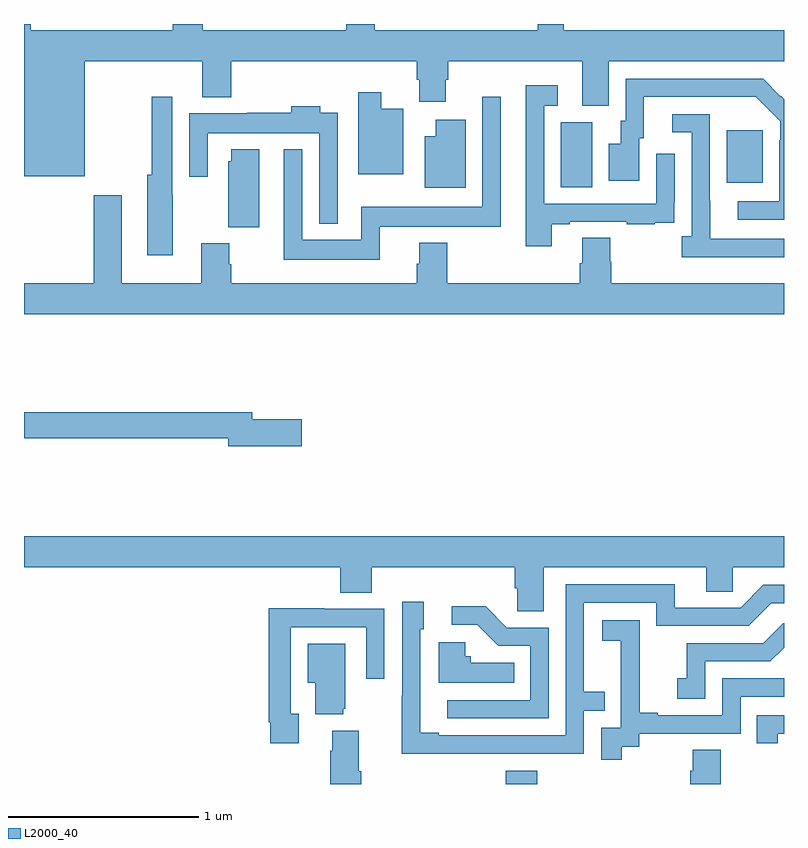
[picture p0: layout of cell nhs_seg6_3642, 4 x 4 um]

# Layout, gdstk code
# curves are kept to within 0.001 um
import gdstk
lib = gdstk.Library(unit=1e-6, precision=1e-09)
def R(c, l, rs):  # rectangles x0, y0, x1, y1
    for r in rs: c.add(gdstk.rectangle(r[:2], r[2:], *l))
def P(c, l, *ps):  # polygons
    for p in ps: c.add(gdstk.Polygon(p, *l))
L2000_40 = (2000, 40)

nhs_seg6_3642 = lib.new_cell('nhs_seg6_3642')
R(nhs_seg6_3642, L2000_40, [(325.535,975.5,325.7,975.571), (325.826,978.64,325.99,978.984), (326.699,978.665,326.887,978.94)])
P(nhs_seg6_3642, L2000_40, [(323.32,979.304),(323.939,979.304),(323.939,979.115),(324.092,979.115),(324.092,979.304),(325.067,979.304),(325.067,979.206),(325.079,979.206),(325.079,979.092),(325.219,979.092),(325.219,979.206),(325.232,979.206),(325.232,979.304),(325.937,979.304),(325.937,979.069),(326.077,979.069),(326.077,979.304),(327,979.304),(327,979.468),(325.842,979.468),(325.842,979.5),(325.703,979.5),(325.703,979.468),(324.847,979.468),(324.847,979.5),(324.695,979.5),(324.695,979.468),(323.942,979.468),(323.942,979.5),(323.782,979.5),(323.782,979.468),(323.035,979.468),(323.035,979.5),(323,979.5),(323,978.698),(323.32,978.698)],
  [(327,979.104),(326.982,979.122),(326.981,979.121),(326.89,979.212),(326.166,979.212),(326.166,978.99),(326.141,978.99),(326.141,978.871),(326.078,978.871),(326.078,978.675),(326.239,978.675),(326.239,978.9),(326.263,978.9),(326.263,979.116),(326.851,979.116),(326.979,978.987),(326.979,978.887),(326.976,978.887),(326.976,978.567),(326.757,978.567),(326.757,978.471),(327,978.471)],
  [(325.777,978.447),(325.873,978.447),(325.873,978.459),(326.173,978.459),(326.173,978.447),(326.321,978.447),(326.321,978.453),(326.423,978.453),(326.423,978.562),(326.424,978.562),(326.424,978.817),(326.328,978.817),(326.328,978.555),(325.737,978.555),(325.737,979.071),(325.81,979.071),(325.81,979.177),(325.64,979.177),(325.64,978.33),(325.777,978.33)],
  [(324.997,979.054),(324.88,979.054),(324.88,979.141),(324.758,979.141),(324.758,978.71),(324.997,978.71)],
  [(323.782,978.602),(323.781,978.602),(323.781,979.117),(323.673,979.117),(323.673,978.706),(323.648,978.706),(323.648,978.282),(323.782,978.282)],
  [(324.872,978.434),(325.51,978.434),(325.51,979.117),(325.413,979.117),(325.413,978.538),(324.774,978.538),(324.774,978.364),(324.465,978.364),(324.465,978.841),(324.368,978.841),(324.368,978.26),(324.872,978.26)],
  [(324.651,979.033),(324.559,979.033),(324.559,979.066),(324.407,979.066),(324.407,979.033),(324.175,979.033),(324.175,979.03),(323.871,979.03),(323.871,978.696),(323.967,978.696),(323.967,978.926),(324.555,978.926),(324.555,978.449),(324.651,978.449)],
  [(327,978.369),(326.611,978.369),(326.611,978.569),(326.61,978.569),(326.61,979.026),(326.412,979.026),(326.412,978.93),(326.514,978.93),(326.514,978.382),(326.463,978.382),(326.463,978.272),(327,978.272)],
  [(325.324,978.997),(325.166,978.997),(325.166,978.91),(325.109,978.91),(325.109,978.638),(325.324,978.638)],
  [(324.238,978.841),(324.092,978.841),(324.092,978.777),(324.074,978.777),(324.074,978.43),(324.238,978.43)],
  [(327,978.136),(326.09,978.136),(326.09,978.249),(326.085,978.249),(326.085,978.374),(325.937,978.374),(325.937,978.242),(325.925,978.242),(325.925,978.136),(325.227,978.136),(325.227,978.349),(325.079,978.349),(325.079,978.237),(325.067,978.237),(325.067,978.136),(324.092,978.136),(324.092,978.236),(324.079,978.236),(324.079,978.345),(323.932,978.345),(323.932,978.136),(323.515,978.136),(323.515,978.598),(323.368,978.598),(323.368,978.136),(323,978.136),(323,977.972),(327,977.972)],
  [(324.463,977.42),(324.202,977.42),(324.202,977.456),(323,977.456),(323,977.32),(324.074,977.32),(324.074,977.278),(324.463,977.278)],
  [(325.735,976.64),(326.591,976.64),(326.591,976.513),(326.73,976.513),(326.73,976.64),(327,976.64),(327,976.804),(323,976.804),(323,976.64),(324.665,976.64),(324.665,976.507),(324.83,976.507),(324.83,976.64),(325.583,976.64),(325.583,976.531),(325.596,976.531),(325.596,976.408),(325.735,976.408)],
  [(325.451,975.66),(325.947,975.66),(325.947,975.885),(326.057,975.885),(326.057,975.986),(325.947,975.986),(325.947,976.455),(326.328,976.455),(326.328,976.332),(326.814,976.332),(326.934,976.452),(327,976.452),(327,976.548),(326.892,976.548),(326.772,976.428),(326.425,976.428),(326.425,976.551),(325.851,976.551),(325.851,975.756),(325.183,975.756),(325.183,975.769),(325.086,975.769),(325.086,976.314),(325.105,976.314),(325.105,976.459),(324.99,976.459),(324.99,975.965),(324.988,975.965),(324.988,975.659)],
  [(325.761,976.323),(325.542,976.323),(325.429,976.436),(325.251,976.436),(325.251,976.338),(325.385,976.338),(325.496,976.227),(325.665,976.227),(325.665,975.942),(325.227,975.942),(325.227,975.846),(325.761,975.846)],
  [(324.445,975.87),(324.405,975.87),(324.405,976.326),(324.801,976.326),(324.801,976.053),(324.897,976.053),(324.897,976.422),(324.581,976.422),(324.581,976.424),(324.289,976.424),(324.289,975.826),(324.297,975.826),(324.297,975.714),(324.445,975.714)],
  [(326.146,975.697),(326.238,975.697),(326.238,975.765),(326.772,975.765),(326.772,975.96),(327,975.96),(327,976.056),(326.676,976.056),(326.676,975.861),(326.335,975.861),(326.335,975.874),(326.24,975.874),(326.24,976.157),(326.241,976.157),(326.241,976.363),(326.043,976.363),(326.043,976.253),(326.141,976.253),(326.141,976.025),(326.142,976.025),(326.142,975.795),(326.037,975.795),(326.037,975.627),(326.146,975.627)],
  [(326.586,976.146),(326.928,976.146),(327,976.218),(327,976.347),(326.996,976.347),(326.891,976.242),(326.488,976.242),(326.488,976.057),(326.439,976.057),(326.439,975.948),(326.586,975.948)],
  [(325.58,976.138),(325.35,976.138),(325.35,976.173),(325.323,976.173),(325.323,976.246),(325.184,976.246),(325.184,976.034),(325.58,976.034)],
  [(324.68,975.897),(324.691,975.897),(324.691,976.237),(324.494,976.237),(324.494,976.034),(324.533,976.034),(324.533,975.866),(324.68,975.866)],
  [(326.968,975.765),(327,975.765),(327,975.861),(326.857,975.861),(326.857,975.714),(326.968,975.714)],
  [(324.776,975.568),(324.763,975.568),(324.763,975.781),(324.623,975.781),(324.623,975.674),(324.611,975.674),(324.611,975.5),(324.776,975.5)],
  [(326.667,975.68),(326.519,975.68),(326.519,975.57),(326.507,975.57),(326.507,975.5),(326.667,975.5)])

lib.write_gds('nhs_seg6_3642.gds')
